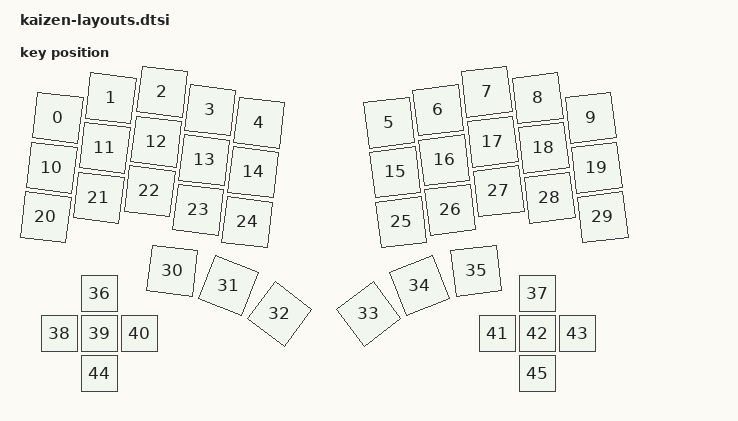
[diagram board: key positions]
#include <physical_layouts.dtsi>

/ {
    physical_layout0: physical_layout_0 {
        compatible = "zmk,physical-layout";
        display-name = "Default Layout";

        keys  //                     w   h    x    y     rot    rx    ry
            = <&key_physical_attrs 100 100   24   52     700    74   102>
            , <&key_physical_attrs 100 100  130   13     700   180    63>
            , <&key_physical_attrs 100 100  233    0     700   283    50>
            , <&key_physical_attrs 100 100  329   37     700   379    87>
            , <&key_physical_attrs 100 100  427   62     700   477   112>
            , <&key_physical_attrs 100 100  687   62  (-700)   737   112>
            , <&key_physical_attrs 100 100  785   37  (-700)   835    87>
            , <&key_physical_attrs 100 100  882    0  (-700)   932    50>
            , <&key_physical_attrs 100 100  984   13  (-700)  1034    63>
            , <&key_physical_attrs 100 100 1090   52  (-700)  1140   102>
            , <&key_physical_attrs 100 100   12  152     700    62   202>
            , <&key_physical_attrs 100 100  118  112     700   168   162>
            , <&key_physical_attrs 100 100  221  100     700   271   150>
            , <&key_physical_attrs 100 100  317  137     700   367   187>
            , <&key_physical_attrs 100 100  415  161     700   465   211>
            , <&key_physical_attrs 100 100  699  161  (-700)   749   211>
            , <&key_physical_attrs 100 100  797  137  (-700)   847   187>
            , <&key_physical_attrs 100 100  894  100  (-700)   944   150>
            , <&key_physical_attrs 100 100  996  112  (-700)  1046   162>
            , <&key_physical_attrs 100 100 1102  152  (-700)  1152   202>
            , <&key_physical_attrs 100 100    0  251     700    50   301>
            , <&key_physical_attrs 100 100  106  212     700   156   262>
            , <&key_physical_attrs 100 100  208  199     700   258   249>
            , <&key_physical_attrs 100 100  305  236     700   355   286>
            , <&key_physical_attrs 100 100  403  261     700   453   311>
            , <&key_physical_attrs 100 100  711  261  (-700)   761   311>
            , <&key_physical_attrs 100 100  809  236  (-700)   859   286>
            , <&key_physical_attrs 100 100  906  199  (-700)   956   249>
            , <&key_physical_attrs 100 100 1008  212  (-700)  1058   262>
            , <&key_physical_attrs 100 100 1114  251  (-700)  1164   301>
            , <&key_physical_attrs 100 100  253  358     700   303   408>
            , <&key_physical_attrs 100 100  366  388    2200   416   438>
            , <&key_physical_attrs 100 100  468  445    3700   518   495>
            , <&key_physical_attrs 100 100  646  445 (-3700)   696   495>
            , <&key_physical_attrs 100 100  748  388 (-2200)   798   438>
            , <&key_physical_attrs 100 100  861  358  (-700)   911   408>
            , <&key_physical_attrs  80  80  118  414       0     0     0>
            , <&key_physical_attrs  80  80  994  414       0     0     0>
            , <&key_physical_attrs  80  80   38  494       0     0     0>
            , <&key_physical_attrs  80  80  118  494       0     0     0>
            , <&key_physical_attrs  80  80  198  494       0     0     0>
            , <&key_physical_attrs  80  80  914  494       0     0     0>
            , <&key_physical_attrs  80  80  994  494       0     0     0>
            , <&key_physical_attrs  80  80 1074  494       0     0     0>
            , <&key_physical_attrs  80  80  118  574       0     0     0>
            , <&key_physical_attrs  80  80  994  574       0     0     0>
            ;
    };
};
